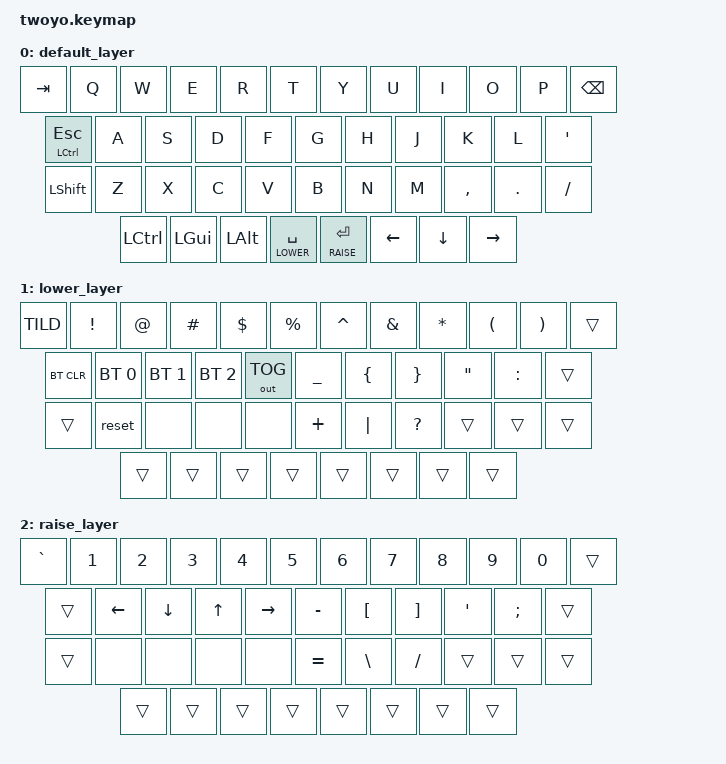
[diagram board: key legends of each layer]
/*
 * Copyright (c) 2020 The ZMK Contributors
 *
 * SPDX-License-Identifier: MIT
 */

#include <behaviors.dtsi>
#include <dt-bindings/zmk/keys.h>
#include <dt-bindings/zmk/bt.h>
#include <dt-bindings/zmk/outputs.h>

#define DEFAULT 0
#define LOWER   1
#define RAISE   2

/ {
        keymap {
                compatible = "zmk,keymap";

                default_layer {
// -----------------------------------------------------------------------------------------
// | TAB           |  Q  |  W  |  E  |  R  |  T  |   |  Y  |  U   |  I  |  O  |  P  | BKSP |
// | MT(LCTL,ESC)  |  A  |  S  |  D  |  F  |  G  |    |  H  |  J   |  K  |  L  |   '   |
// | SHFT          |  Z  |  X  |  C  |  V  |  B  |     |  N  |  M   |  ,  |  .  |  /   |
// | CTL           | GUI | ALT |  | LT(LOWER,SPC) |        | LT(RAISE,ENTER) |       | LEFT | DOWN  | RIGHT |
                        bindings = <
   &kp TAB  &kp Q &kp W &kp E &kp R &kp T     &kp Y &kp U  &kp I  &kp O  &kp P   &kp BSPC
   &mt LCTL ESC &kp A  &kp S &kp D &kp F &kp G        &kp H &kp J  &kp K     &kp L     &kp APOS
   &kp LSHFT &kp Z &kp X &kp C &kp V &kp B        &kp N &kp M  &kp COMMA &kp DOT &kp SLASH
   &kp LCTL &kp LGUI &kp LALT &lt LOWER SPACE   &lt RAISE ENTER &kp LEFT  &kp DOWN &kp RIGHT
                        >;
                };
                lower_layer {
// -----------------------------------------------------------------------------------------
// | TILD  |  !  |  @  |  #  |  $  |  %  |     |  ^  |  &  |  *  |  (  |  )  |      |
// | BTCLR| BT0 | BT1 | BT2 | OUT |  _   |     | {  |  }  |  "  |  :  |             |           
// |      | RST |     |     |     |  +   |     | "|" | ?  |     |        |          |      
// |     |     |    |                    |     |                |     |      |      |
                        bindings = <
   &kp TILD &kp EXCL &kp AT &kp HASH &kp DLLR &kp PRCNT &kp CARET  &kp AMPS &kp STAR &kp LPAR &kp RPAR &trans
   &bt BT_CLR &bt BT_SEL 0 &bt BT_SEL 1 &bt BT_SEL 2 &out OUT_TOG &kp UNDER     &kp LBRC &kp RBRC &kp DQT &kp COLON &trans 
   &trans  &reset      &none       &none       &none       &kp PLUS   &kp PIPE   &kp QMARK   &trans    &trans    &trans 
   &trans &trans  &trans       &trans                        &trans          &trans                       &trans &trans
                        >;
                };

                raise_layer {
// -----------------------------------------------------------------------------------------
// | GRV |  1  |  2  |  3  |  4 |  5    |     |  6  |  7  |  8  |  9  |  0  |      |
// |     | LFT | DWN | UP   | RGT |  -  |     |  [  |  ]  |  '  |  ;  |     |
// |     |     |     |     |     |   =  |     |  \  |  /  |     |     |     | 
// |     |     |     |                  |     |           |     |     |     |
                        bindings = <
   &kp GRAVE  &kp N1  &kp N2  &kp N3  &kp N4  &kp N5   &kp N6 &kp N7  &kp N8 &kp N9 &kp N0 &trans
   &trans &kp LEFT  &kp DOWN  &kp UP    &kp RIGHT  &kp MINUS      &kp LBKT &kp RBKT &kp SQT &kp SEMI  &trans 
   &trans &none    &none  &none    &none    &kp EQUAL      &kp BSLH    &kp FSLH    &trans  &trans &trans
   &trans &trans &trans                     &trans          &trans              &trans &trans &trans
                        >;
                };
        };
};
